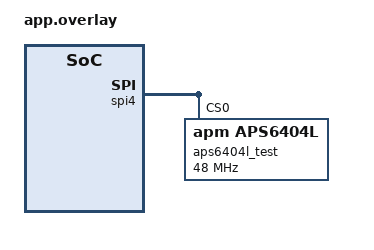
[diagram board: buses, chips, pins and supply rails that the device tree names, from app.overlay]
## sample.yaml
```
sample:
  name: Apollo510 EB PSRAM SPI
tests:
  sample.boards.apollo510_eb.spi_serial_flash:
    tags:
      - LED
      - gpio
    filter: dt_enabled_alias_with_parent_compat("led0", "gpio-leds")
    depends_on: gpio
    harness: led
    integration_platforms:
      - apollo510_eb
```

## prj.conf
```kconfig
CONFIG_STDOUT_CONSOLE=y
CONFIG_CBPRINTF_FP_SUPPORT=y
CONFIG_APS6404L=y
CONFIG_SPI=y
#CONFIG_SPI_AMBIQ_DMA=y
CONFIG_MAIN_STACK_SIZE=4096
CONFIG_HEAP_MEM_POOL_SIZE=16384
CONFIG_NO_OPTIMIZATIONS=y
```

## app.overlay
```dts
/*
 *  Copyright (c) 2023 Antmicro <www.antmicro.com>
 *
 * SPDX-License-Identifier: Apache-2.0
 */

/ {
	aliases {
        spi0 = &aps6404l_test;
	};
};

&spi4 {
	aps6404l_test: aps6404l@0 {
        compatible = "apm,aps6404l";
        reg = <0>;
        spi-max-frequency = <48000000>;
        status = "okay";
	};
};
```

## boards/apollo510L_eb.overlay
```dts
/*
 * Copyright (c) 2025, Ambiq Micro Inc. <www.ambiq.com>
 *
 * SPDX-License-Identifier: Apache-2.0
 */

/ {
	aliases {
		spi-psram = &spi_psram;
	};
};

&iom4 {
	cmdq-buffer-location = "SRAM_NO_CACHE";
	cmdq-buffer-size = <256>;

	spi4: spi {
		pinctrl-0 = <&spi4_default>;
		pinctrl-names = "default";
		cs-gpios = <&gpio0_31 14 GPIO_ACTIVE_LOW>;
		clock-frequency = <DT_FREQ_M(24)>;
		status = "okay";
		spi_psram: aps6404l@0 {
			compatible = "apm,aps6404l";
			reg = <0>;
			spi-max-frequency = <48000000>;
		};
	};
};
```

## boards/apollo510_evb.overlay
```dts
/*
 * Copyright (c) 2025, Ambiq Micro Inc. <www.ambiq.com>
 *
 * SPDX-License-Identifier: Apache-2.0
 *
 * Overlay for the MikroElektronika "PSRAM 2 Click" (MIKROE-5337) carrying
 * an APMemory APS6404L 64Mbit SPI/QPI PSRAM. Wired to IOM0 / SPI0 with
 * the chip-select on a spare GPIO.
 *
 *   SCK  : P5  (M0SCK)
 *   MISO : P7  (M0MISO)
 *   MOSI : P6  (M0MOSI)
 *   CS#  : P10 (GPIO, active low)
 *
 * Console (uart0) is on different pins and is unaffected.
 *
 * NOTE: This MIKROE Click board run at 3.3V logic. The
 * apollo510_evb VDDIO must be set to 3.3V (jumper/PMIC config) before
 * connecting any click board. Driving a click board at 1.8V will produce
 * unreliable behavior; driving the SoC pins at 5V will damage them.
 *
 * Future work: a dedicated mikroBUS shield definition is planned so that
 * any 3.3V Click board can be layered on top of apollo510_evb /
 * apollo510b_evb without per-sample overlays. For now, this overlay
 * targets the PSRAM 2 Click directly.
 */

/ {
	aliases {
		spi-psram = &spi_psram;
	};
};

&iom0 {
	cmdq-buffer-location = "SRAM_NO_CACHE";
	cmdq-buffer-size = <256>;

	spi0: spi {
		pinctrl-0 = <&spi0_default>;
		pinctrl-names = "default";
		cs-gpios = <&gpio0_31 10 GPIO_ACTIVE_LOW>;
		clock-frequency = <DT_FREQ_M(24)>;
		status = "okay";

		spi_psram: aps6404l@0 {
			compatible = "apm,aps6404l";
			reg = <0>;
			spi-max-frequency = <24000000>;
		};
	};
};
```

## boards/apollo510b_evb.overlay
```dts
/*
 * Copyright (c) 2025, Ambiq Micro Inc. <www.ambiq.com>
 *
 * SPDX-License-Identifier: Apache-2.0
 *
 * Overlay for the MikroElektronika "PSRAM 2 Click" (MIKROE-5337) carrying
 * an APMemory APS6404L 64Mbit SPI/QPI PSRAM. Wired to IOM0 / SPI0 with
 * the chip-select on a spare GPIO.
 *
 *   SCK  : P5  (M0SCK)
 *   MISO : P7  (M0MISO)
 *   MOSI : P6  (M0MOSI)
 *   CS#  : P10 (GPIO, active low)
 *
 * Console (uart1 on P12/P14) is on different pins and is unaffected.
 *
 * NOTE: This MIKROE Click board run at 3.3V logic. The
 * apollo510_evb VDDIO must be set to 3.3V (jumper/PMIC config) before
 * connecting any click board. Driving a click board at 1.8V will produce
 * unreliable behavior; driving the SoC pins at 5V will damage them.
 *
 * Future work: a dedicated mikroBUS shield definition is planned so that
 * any 3.3V Click board can be layered on top of apollo510_evb /
 * apollo510b_evb without per-sample overlays. For now, this overlay
 * targets the PSRAM 2 Click directly.
 */

/ {
	aliases {
		spi-psram = &spi_psram;
	};
};

&iom0 {
	cmdq-buffer-location = "SRAM_NO_CACHE";
	cmdq-buffer-size = <256>;

	spi0: spi {
		pinctrl-0 = <&spi0_default>;
		pinctrl-names = "default";
		cs-gpios = <&gpio0_31 10 GPIO_ACTIVE_LOW>;
		clock-frequency = <DT_FREQ_M(24)>;
		status = "okay";

		spi_psram: aps6404l@0 {
			compatible = "apm,aps6404l";
			reg = <0>;
			spi-max-frequency = <24000000>;
		};
	};
};
```

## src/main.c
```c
/*
 * Copyright (c) 2024 Ambiq
 *
 * SPDX-License-Identifier: Apache-2.0
 */

#include <stdio.h>
#include <stdlib.h>

#include <zephyr/kernel.h>
#include <zephyr/device.h>
#include <zephyr/devicetree.h>
#include <zephyr/sys/util_macro.h>
#include <zephyr/drivers/gpio.h>
#include <zephyr/drivers/spi.h>
#include <zephyr/drivers/flash.h>
#include <zephyr/sys/util.h>
#include <zephyr/logging/log.h>

/*
 * This example currently works on an Apollo4 Plus STMOBO
 * This is the only board containing the APS6404L device.
 */

LOG_MODULE_REGISTER(spi_serial_flash, CONFIG_SPI_LOG_LEVEL);

#define DT_DRV_COMPAT apm_aps6404l

#define TEST_ADDRESS	0x10

/*
 * A build error on these lines means your board is unsupported.
 * See the sample documentation for information on how to fix this.
 */
const struct device * aps6404l_dev = DEVICE_DT_GET(DT_ALIAS(psram5));

#define TRANSACTION_SIZE	128

#define MAX_TRANS_SIZE	  (TRANSACTION_SIZE)
static uint8_t g_pucInBuffer[TRANSACTION_SIZE*2];
static uint8_t g_pucOutBuffer[TRANSACTION_SIZE*2];

static int load_buffers(int offset, int num_addr, int repeatCount) {
	/* Returns number of bytes loaded */
	int ix = 0;

	// Initialize the buffer section which will be used - to initialize out and in different
	for ( ix = offset; ix < num_addr + offset; ix++ ) {
		g_pucOutBuffer[ix] = (ix - offset) & 0xFF;
		g_pucInBuffer[ix]  = ~g_pucOutBuffer[ix];
	}

	return ix;
}

static bool compare_buffers(uint32_t offset, int num_addr, int repeatCount) {
	/* Compare the output buffer with input buffer */
	for (uint32_t i = 0; i < sizeof(g_pucOutBuffer); i++) {
		if (g_pucInBuffer[i] != g_pucOutBuffer[i]) {
			LOG_ERR("Buffer miscompare at location %d\n", i);
			LOG_ERR("TX Value = %2X | RX Value = %2X\n", g_pucOutBuffer[i], g_pucInBuffer[i]);
			LOG_ERR("TX:\n");

			for (uint32_t k = 0; k < num_addr; k++) {
				LOG_ERR("%2X ", g_pucOutBuffer[offset + k]);

				if ((k%64) == 0) {
					LOG_ERR("\n");
				}
			}
			LOG_ERR("\n");
			LOG_ERR("RX:\n");

			for (uint32_t k = 0; k < num_addr; k++) {
				LOG_ERR("%2X ", g_pucInBuffer[offset + k]);

				if ((k%64) == 0) {
					LOG_ERR("\n");
				}
			}

			LOG_ERR("\n");
			return false;
		}
	}
	return true;
}

extern int aps6404l_write(const struct device *dev, uint8_t *pui8TxBuffer, uint32_t ui32WriteAddress, uint32_t ui32NumBytes);
extern int aps6404l_read(const struct device *dev, uint8_t *pui8RxBuffer, uint32_t ui32ReadAddress, uint32_t ui32NumBytes);

void erase_address_space(const struct device *dev) {
	/* Set the buffer to the PSRAM device. */
	int ret = aps6404l_write(aps6404l_dev, &g_pucOutBuffer[0], TEST_ADDRESS, TRANSACTION_SIZE);

	if (ret == 0) {
		printk("\nAPS6404L Erase Write PASSED\n");

		/* Read the buffer from the PSRAM device. */
		ret = aps6404l_read(aps6404l_dev, &g_pucInBuffer[0], TEST_ADDRESS, TRANSACTION_SIZE);
	}
	else {
		LOG_ERR("APS6404L EraseWrite FAILED\n");
	}

	/* Compare the receive buffer to the transmit buffer. */
	if ( ret || !compare_buffers(0, TRANSACTION_SIZE, 0) ) {
		LOG_ERR("APS6404L Erase Read or compare_buffers FAILED\n");
	}
	else {
		printk("APS6404L Erase Read PASSED\n");
	}
}

int main(void)
{
	int ret = 0;

	if (!device_is_ready(aps6404l_dev)) {
		return -1;
	}

	memset(g_pucOutBuffer, 0xFF, TRANSACTION_SIZE);
	erase_address_space(aps6404l_dev);

	/* Create the transmit buffer to write. */
	load_buffers(0, TRANSACTION_SIZE, 0);

	/* Write the buffer to the PSRAM device. */
	ret = aps6404l_write(aps6404l_dev, g_pucOutBuffer, TEST_ADDRESS, TRANSACTION_SIZE);

	if (ret == 0) {
		printk("\nAPS6404L Write PASSED\n");

		/* Read the buffer from the PSRAM device. */
		ret = aps6404l_read(aps6404l_dev, g_pucInBuffer, TEST_ADDRESS, TRANSACTION_SIZE);
	}
	else {
		LOG_ERR("APS6404L Write FAILED\n");
	}

	/* Compare the receive buffer to the transmit buffer. */
	if ( ret || !compare_buffers(0, TRANSACTION_SIZE, 0) ) {
		LOG_ERR("APS6404L Read or compare_buffers FAILED\n");
	}
	else {
		printk("APS6404L Read PASSED\n");
	}

	return 0;
}
```
